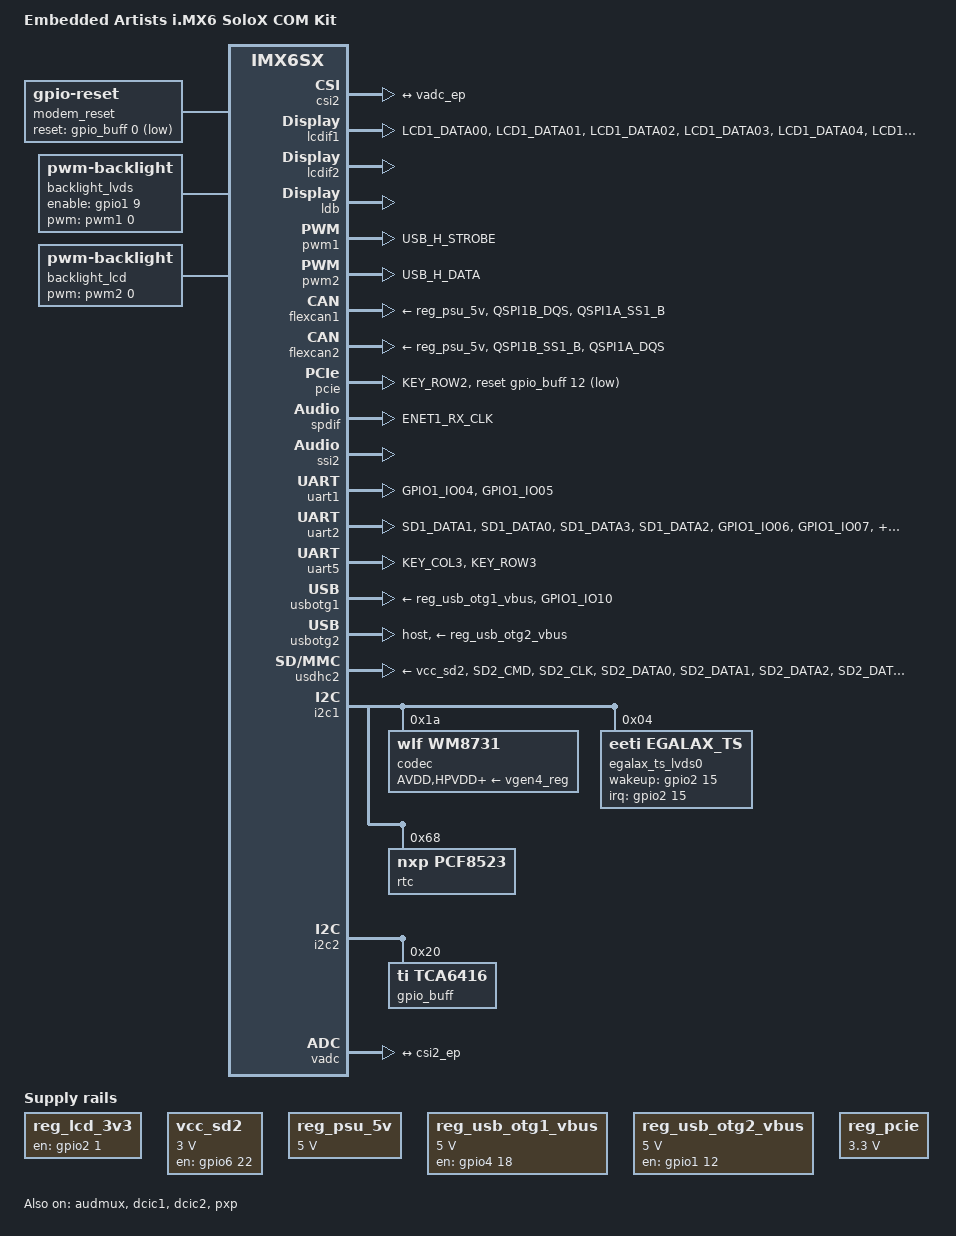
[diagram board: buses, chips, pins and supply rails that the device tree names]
/*
 * Copyright (C) 2014-2015 Freescale Semiconductor, Inc.
 *
 * This program is free software; you can redistribute it and/or modify
 * it under the terms of the GNU General Public License version 2 as
 * published by the Free Software Foundation.
 */

/dts-v1/;

#include "imx6sxea-com.dtsi"

/ {
	model = "Embedded Artists i.MX6 SoloX COM Kit";
	compatible = "fsl,imx6sxea-com", "fsl,imx6sx";

	/* Aliases to allow u-boot to modify the device tree */
	aliases {
		fb_rgb = &lcdif1;
		fb_lvds0 = &lcdif2;
		t_rgb = &t_lcd;
		t_lvds0 = &t_lvds;
		bl_rgb = &backlight_lcd;
		bl_lvds = &backlight_lvds;
		rgb = &display0;
		lvds0 = &display1;
		ldb = &ldb;
		ts_con_rgb = &i2c1;
		ts_con_lvds0 = &i2c1;
	};

	chosen {
		stdout-path = &uart1;
	};


	modem_reset: modem-reset {		/* Murata -- BT_REG_ON */
		compatible = "gpio-reset";
		reset-gpios = <&gpio_buff 0 GPIO_ACTIVE_LOW>;
		reset-delay-us = <1000>;
		#reset-cells = <0>;
	};

	backlight_lvds: backlight1 {
		compatible = "pwm-backlight";
		pwms = <&pwm1 0 5000000>;
		brightness-levels = <0 4 8 16 32 64 128 255>;
		default-brightness-level = <6>;
		fb-names = "mxs-lcdif0";
		enable-gpios = <&gpio1 9 GPIO_ACTIVE_HIGH>;
	};

	backlight_lcd: backlight2 {
		compatible = "pwm-backlight";
		pwms = <&pwm2 0 5000000>;
		brightness-levels = <0 4 8 16 32 64 128 255>;
		default-brightness-level = <6>;
		fb-names = "mxs-lcdif1";
	};

/*
	hannstar_cabc {
		compatible = "hannstar,cabc";

		lvds0 {
			gpios = <&gpio2 1 GPIO_ACTIVE_HIGH>, <&gpio1 9 GPIO_ACTIVE_HIGH>;
		};
	};
*/
	pxp_v4l2_out {
		compatible = "fsl,imx6sx-pxp-v4l2", "fsl,imx6sl-pxp-v4l2";
		status = "okay";
	};

	regulators {
		compatible = "simple-bus";
		#address-cells = <1>;
		#size-cells = <0>;

		reg_lcd_3v3: lcd-3v3 {
			compatible = "regulator-fixed";
			regulator-name = "lcd-3v3";
			gpio = <&gpio2 1 GPIO_ACTIVE_LOW>;
			enable-active-high;
			status = "okay";
		};

		/* For uSD/MMC socket on EA COM Base Board */
		vcc_sd2: regulator@0 {
			compatible = "regulator-fixed";
			reg = <0>;
			pinctrl-names = "default";
			pinctrl-0 = <&pinctrl_vcc_sd2>;
			regulator-name = "VCC_SD2";
			regulator-min-microvolt = <3000000>;
			regulator-max-microvolt = <3000000>;
			gpio = <&gpio6 22 GPIO_ACTIVE_HIGH>;
			enable-active-high;
		};

		reg_psu_5v: regulator@1 {
			compatible = "regulator-fixed";
			reg = <1>;
			regulator-name = "PSU-5V0";
			regulator-min-microvolt = <5000000>;
			regulator-max-microvolt = <5000000>;
			regulator-boot-on;
		};


		reg_usb_otg1_vbus: regulator@3 {
			compatible = "regulator-fixed";
			reg = <3>;
			pinctrl-names = "default";
			pinctrl-0 = <&pinctrl_usb_otg1>;
			regulator-name = "usb_otg1_vbus";
			regulator-min-microvolt = <5000000>;
			regulator-max-microvolt = <5000000>;
			gpio = <&gpio4 18 GPIO_ACTIVE_HIGH>;
			enable-active-high;
		};
 
		reg_usb_otg2_vbus: regulator@4 {
			compatible = "regulator-fixed";
			reg = <4>;
			pinctrl-names = "default";
			pinctrl-0 = <&pinctrl_usb_otg2>;
			regulator-name = "usb_otg2_vbus";
			regulator-min-microvolt = <5000000>;
			regulator-max-microvolt = <5000000>;
			gpio = <&gpio1 12 GPIO_ACTIVE_HIGH>;
			enable-active-high;
		};

		reg_pcie: regulator@5 {
			compatible = "regulator-fixed";
			reg = <5>;
			regulator-name = "MPCIE_3V3";
			regulator-min-microvolt = <3300000>;
			regulator-max-microvolt = <3300000>;			
			regulator-always-on;
		};
	};

	sound {
		compatible = "fsl,imx-audio-wm8731";
		model = "wm8731-audio";
		ssi-controller = <&ssi2>;
		src-port = <2>;
		ext-port = <6>;
		audio-codec = <&codec>;
		audio-routing = "LOUT", "ROUT", "LLINEIN", "RLINEIN";
	};

};

&audmux {
	pinctrl-names = "default";
	pinctrl-0 = <&pinctrl_audmux>;
	status = "okay";
};

&csi2 {
	status = "okay";
	port {
		csi2_ep: endpoint {
			remote-endpoint = <&vadc_ep>;
		};
	};
};


&lcdif1 {
	pinctrl-names = "default";
	pinctrl-0 = <&pinctrl_lcdif_dat>;
	lcd-supply = <&reg_lcd_3v3>;
	display = <&display0>;
	status = "okay";

	display0: display@0 {
		bits-per-pixel = <32>;
		bus-width = <24>;

		display-timings {
			native-mode = <&t_lcd>;
			t_lcd: t_lcd_default {
				/* values may be changed in bootscript, default is for EA 7" display */
				clock-frequency = <33500000>;
				hactive = <800>;
				vactive = <480>;
				hback-porch = <89>;
				hfront-porch = <164>;
				vback-porch = <75>;/*<23>;*/
				vfront-porch = <75>;/*<10>;*/
				hsync-len = <10>;
				vsync-len = <10>;
				hsync-active = <0>;
				vsync-active = <0>;
				de-active = <1>;
				pixelclk-active = <1>;
			};
		};
	};
};

&lcdif2 {
        lcd-supply = <&reg_lcd_3v3>;

	display = <&display1>;
	disp-dev = "ldb";
	status = "okay";

	assigned-clocks = <&clks IMX6SX_CLK_LCDIF2_SEL>;
	assigned-clock-parents = <&clks IMX6SX_CLK_LDB_DI0>;
	assigned-clock-rates = <0>;

	display1: display@1 {
		bits-per-pixel = <16>;
		bus-width = <18>;
	};
};

&ldb {
	status = "okay";

	lvds-channel@0 {
		fsl,data-mapping = "spwg";
		fsl,data-width = <18>;
		crtc = "lcdif2";
		status = "okay";

		display-timings {
			native-mode = <&t_lvds>;
			t_lvds: t_lvds_default {
				/* values may be changed in bootscript, default is for Hannstar 10" display */
				clock-frequency = <65000000>;
				hactive = <1024>;
				vactive = <768>;
				hback-porch = <220>;
				hfront-porch = <40>;
				vback-porch = <21>;
				vfront-porch = <7>;
				hsync-len = <60>;
				vsync-len = <10>;
			};
		};
	};
};

&pwm1 {
	pinctrl-names = "default";
	pinctrl-0 = <&pinctrl_pwm1>;
	status = "okay";
};

&pwm2 {
	pinctrl-names = "default";
	pinctrl-0 = <&pinctrl_pwm2>;
	status = "okay";
};

&dcic1 {
	dcic_id = <0>;
	dcic_mux = "dcic-lcdif1";
	status = "okay";
};

&dcic2 {
	dcic_id = <1>;
	dcic_mux = "dcic-lvds";
	status = "okay";
};

&flexcan1 {
	pinctrl-names = "default";
	pinctrl-0 = <&pinctrl_flexcan1>;
	xceiver-supply = <&reg_psu_5v>;
	status = "okay";
};

&flexcan2 {
	pinctrl-names = "default";
	pinctrl-0 = <&pinctrl_flexcan2>;
	xceiver-supply = <&reg_psu_5v>;
	status = "okay";
};

&pcie {
	pinctrl-names = "default";
	pinctrl-0 = <&pinctrl_pcie>;
	reset-gpio = <&gpio_buff 12 GPIO_ACTIVE_LOW>; /* PCIE_PERST_L */
	disable-gpio = <&gpio_buff 1 GPIO_ACTIVE_LOW>; /* WL REG ON */
	clkreq-gpio = <&gpio2 17 GPIO_ACTIVE_LOW>; /* PCIe_CLKREQ */
	status = "okay";
};

&pxp {
	status = "okay";
};

&sai1 {
        pinctrl-names = "default";
        pinctrl-0 = <&pinctrl_sai1>;
        status = "disabled";
};

&spdif {
	pinctrl-names = "default";
	pinctrl-0 = <&pinctrl_spdif>;
	status = "okay";
};

&ssi2 {
	fsl,mode = "i2s-master";
	status = "okay";
};

&uart1 {
	pinctrl-names = "default";
	pinctrl-0 = <&pinctrl_uart1>;
	status = "okay";
};

&uart2 {
	pinctrl-names = "default";
	pinctrl-0 = <&pinctrl_uart2>;
	status = "okay";

	fsl,uart-has-rtscts;
	#fsl,irda-mode;
	#fsl,dte-mode;
};

&uart5 {
	pinctrl-names = "default";
	pinctrl-0 = <&pinctrl_uart5>;
	status = "okay";
};

&usbotg1 {
	vbus-supply = <&reg_usb_otg1_vbus>;
	pinctrl-names = "default";
	pinctrl-0 = <&pinctrl_usb_otg1_id>;
	status = "okay";
};

&usbotg2 {
	vbus-supply = <&reg_usb_otg2_vbus>;
	dr_mode = "host";
	status = "okay";
};

/* For uSD/MMC socket on EA COM Base Board */
&usdhc2 {
	pinctrl-names = "default";
	pinctrl-0 = <&pinctrl_usdhc2>;
	cd-gpios = <&gpio2 16 GPIO_ACTIVE_LOW>;
	vmmc-supply = <&vcc_sd2>;
	no-1-8-v;
	keep-power-in-suspend;
	wakeup-source;
	status = "okay";
};


&i2c1 {
	
	codec: wm8731@1a {
		compatible = "wlf,wm8731";
		reg = <0x1a>;
		clocks = <&clks IMX6SX_CLK_AUDIO>, <&clks IMX6SX_CLK_PLL4_AUDIO_DIV>;
		clock-names = "mclk", "mclk_parent";
		AVDD-supply = <&vgen4_reg>;
		HPVDD-supply = <&vgen4_reg>;
		DCVDD-supply = <&vgen4_reg>;
		DBVDD-supply = <&vgen4_reg>;
	};

	/* AR1021 touch controller through RGB display interface connector on Carrier Board */
	ar1021_rgb@4d {
		compatible = "microchip,ar1021-i2c";
		reg = <0x4d>;
		pinctrl-names = "default";
		pinctrl-0 = <&pinctrl_rgb_connector>;
		interrupt-parent = <&gpio1>;
		interrupts = <17 IRQ_TYPE_EDGE_FALLING>;
		ar1021,swap_xy;
		ar1021,invert_x;
		#ar1021,invert_y;
		status = "disabled";
	};
	/* AR1021 touch controller through LVDS0 display interface connector on Carrier Board */
	ar1021_lvds0@4d {
		compatible = "microchip,ar1021-i2c";
		reg = <0x4d>;
		pinctrl-names = "default";
		pinctrl-0 = <&pinctrl_lvds0_connector>;
		interrupt-parent = <&gpio2>;
		interrupts = <15 IRQ_TYPE_EDGE_FALLING>;
		ar1021,swap_xy;
		ar1021,invert_x;
		#ar1021,invert_y;
		status = "disabled";
	};

	/* eGalax touch controller through RGB display interface connector on Carrier Board */
	egalax_ts_rgb@04 {
		compatible = "eeti,egalax_ts";
		reg = <0x04>;
		pinctrl-names = "default";
		pinctrl-0 = <&pinctrl_rgb_connector>;
		interrupt-parent = <&gpio1>;
		interrupts = <17 IRQ_TYPE_EDGE_FALLING>;
		wakeup-gpios = <&gpio1 17 GPIO_ACTIVE_HIGH>;
		status = "disabled";
	};
	/* eGalax touch controller through LVDS0 display interface connector on Carrier Board */
	egalax_ts_lvds0@04 {
		compatible = "eeti,egalax_ts";
		reg = <0x04>;
		pinctrl-names = "default";
		pinctrl-0 = <&pinctrl_lvds0_connector>;
		interrupt-parent = <&gpio2>;
		interrupts = <15 IRQ_TYPE_EDGE_FALLING>;
		wakeup-gpios = <&gpio2 15 GPIO_ACTIVE_HIGH>;
		status = "okay";
	};

	/* FocalTech touch controller through RGB display interface connector on Carrier Board */
	edt-ft5x06_rgb@38 {
		compatible = "edt,edt-ft5x06";
		reg = <0x38>;
		pinctrl-names = "default";
		pinctrl-0 = <&pinctrl_rgb_connector>;
		interrupt-parent = <&gpio1>;
		interrupts = <17 IRQ_TYPE_EDGE_FALLING>;
		reset-gpios = <&gpio4 19 GPIO_ACTIVE_HIGH>;
		status = "disabled";
	};
	/* FocalTech touch controller through LVDS0 display interface connector on Carrier Board */
	edt-ft5x06_lvds0@38 {
		compatible = "edt,edt-ft5x06";
		reg = <0x38>;
		pinctrl-names = "default";
		pinctrl-0 = <&pinctrl_lvds0_connector>;
		interrupt-parent = <&gpio2>;
		interrupts = <15 IRQ_TYPE_EDGE_FALLING>;
		status = "disabled";
	};

	/* Ilitek touch controller through RGB display interface connector on Carrier Board */
	ilitek_aim_rgb@41 {
		compatible = "ilitek,ilitek_aim";
		reg = <0x41>;
		pinctrl-names = "default";
		pinctrl-0 = <&pinctrl_rgb_connector>;
		interrupt-parent = <&gpio1>;
		interrupts = <17 IRQ_TYPE_EDGE_FALLING>;
		reset-gpios = <&gpio4 19 GPIO_ACTIVE_HIGH>;
		status = "disabled";
	};
	/* Ilitek touch controller through LVDS0 display interface connector on Carrier Board */
	ilitek_aim_lvds0@41 {
		compatible = "ilitek,ilitek_aim";
		reg = <0x41>;
		pinctrl-names = "default";
		pinctrl-0 = <&pinctrl_lvds0_connector>;
		interrupt-parent = <&gpio2>;
		interrupts = <15 IRQ_TYPE_EDGE_FALLING>;
		status = "disabled";
	};

	/* Atmel MXT1664 touch controller through RGB display interface connector on Carrier Board */
	mxt1664_ts_rgb@4b {
		compatible = "atmel,mxt1664_ts";
		reg = <0x4b>;
		pinctrl-names = "default";
		pinctrl-0 = <&pinctrl_rgb_connector>;
		interrupt-parent = <&gpio1>;
		interrupts = <17 IRQ_TYPE_EDGE_FALLING>;
		status = "disabled";
	};

	/* Atmel MXT1664 touch controller through LVDS0 display interface connector on Carrier Board */
	mxt1664_ts_lvds0@4b {
		compatible = "atmel,mxt1664_ts";
		reg = <0x4b>;
		pinctrl-names = "default";
		pinctrl-0 = <&pinctrl_lvds0_connector>;
		interrupt-parent = <&gpio2>;
		interrupts = <15 IRQ_TYPE_EDGE_FALLING>;
		status = "disabled";
	};

	/* Sitronix touch controller through RGB display interface connector on Carrier Board */
	sitronix_rgb@55 {
		compatible = "sitronix,sitronix_i2c";
		reg = <0x55>;
		pinctrl-names = "default";
		pinctrl-0 = <&pinctrl_rgb_connector>;
		interrupt-parent = <&gpio1>;
		interrupts = <17 IRQ_TYPE_EDGE_FALLING>;
		reset-gpios = <&gpio4 19 GPIO_ACTIVE_HIGH>;
		status = "disabled";
	};
	/* Sitronix touch controller through LVDS0 display interface connector on Carrier Board */
	sitronix_lvds0@55 {
		compatible = "sitronix,sitronix_i2c";
		reg = <0x55>;
		pinctrl-names = "default";
		pinctrl-0 = <&pinctrl_lvds0_connector>;
		interrupt-parent = <&gpio2>;
		interrupts = <15 IRQ_TYPE_EDGE_FALLING>;
		status = "disabled";
	};
	rtc: pcf8523@68 {
		compatible = "nxp,pcf8523";
		reg = <0x68>;
	};
};

&i2c2 {
	gpio_buff: pca6416@20 {
		compatible = "ti,tca6416";
		reg = <0x20>;
		gpio-controller;
		#gpio-cells = <2>;
		gpio-line-names = "BT_REG_ON", "WL_REG_ON", "",
			"BT_DEV_WAKE", "AUD_MUX_CTRL", "SD_PCIE_MUX_CTRL",
			"VDDIO_VSEL", "PCIE_CLK_MUX_CTRL", "PCIE_SLOT_MUX_CTRL",
			"SD_MUX_CTRL1", "AUD_CODEC_MUX_CTRL1",
			"AUD_CODEC_MUX_CTRL2", "PCIE_PERST_L", "SD_MUX_CTRL2",
			"VBAT_VSEL", "M2-E_WLAN_ENABLE";

		hog_SD_PCIE_MUX_CTRL {
			gpio-hog;
			gpios = <5 0>;
			output-low;
		};
		hog_VDDIO_VSEL {
			gpio-hog;
			gpios = <6 0>;
			output-low;
		};
		hog_PCIE_CLK_MUX_CTRL {
			gpio-hog;
			gpios = <7 0>;
			output-low;
		};
		hog_PCIE_SLOT_MUX_CTRL {
			gpio-hog;
			gpios = <8 0>;
			output-high;
		};
		hog_AUD_CODEC_MUX_CTRL1 {
			gpio-hog;
			gpios = <10 0>;
			output-high;
		};
		hog_AUD_CODEC_MUX_CTRL2 {
			gpio-hog;
			gpios = <11 0>;
			output-high;
		};
	};
};

&vadc {
	vadc_in = <0>;
	csi_id = <1>;
	status = "okay";
	port {
		vadc_ep: endpoint {
			remote-endpoint = <&csi2_ep>;
		};
	};
};

&iomuxc {
	pinctrl-0 = <&pinctrl_lcdif_ctrl>;

	imx6xea-com-kit {

		pinctrl_audmux: audmuxgrp {
			fsl,pins = <
				MX6SX_PAD_CSI_DATA00__AUDMUX_AUD6_TXC   0x130b0
				MX6SX_PAD_CSI_DATA01__AUDMUX_AUD6_TXFS  0x130b0
				MX6SX_PAD_CSI_HSYNC__AUDMUX_AUD6_TXD    0x120b0
				MX6SX_PAD_CSI_VSYNC__AUDMUX_AUD6_RXD    0x130b0
				MX6SX_PAD_CSI_PIXCLK__AUDMUX_MCLK       0x130b0
			>;
		};

		pinctrl_canfd1: canfd1grp-1 {
			fsl,pins = <
				MX6SX_PAD_QSPI1B_DQS__CANFD_TX1         0x1b0b0
				MX6SX_PAD_QSPI1A_SS1_B__CANFD_RX1       0x1b0b0
			>;
		};

		pinctrl_canfd2: canfd2grp-1 {
			fsl,pins = <
				MX6SX_PAD_QSPI1B_SS1_B__CANFD_RX2       0x1b0b0
				MX6SX_PAD_QSPI1A_DQS__CANFD_TX2         0x1b0b0
			>;
		};

		pinctrl_rgb_connector: rgb_connector_grp {
			fsl,pins = <
				MX6SX_PAD_CSI_DATA03__GPIO1_IO_17       0x1f0b0
				MX6SX_PAD_QSPI1A_DATA3__GPIO4_IO_19     0x1f0b0
			>;
		};

		pinctrl_lvds0_connector: lvds0_connector_grp {
			fsl,pins = <
				MX6SX_PAD_KEY_ROW0__GPIO2_IO_15 0x80000000
			>;
		};

		pinctrl_flexcan1: flexcan1grp {
			fsl,pins = <
				MX6SX_PAD_QSPI1B_DQS__CAN1_TX		0x1b020
				MX6SX_PAD_QSPI1A_SS1_B__CAN1_RX		0x1b020
			>;
		};

		pinctrl_flexcan2: flexcan2grp {
			fsl,pins = <
				MX6SX_PAD_QSPI1B_SS1_B__CAN2_RX		0x1b020
				MX6SX_PAD_QSPI1A_DQS__CAN2_TX		0x1b020
			>;
		};

		pinctrl_lcdif_dat: lcdifdatgrp {
			fsl,pins = <
				MX6SX_PAD_LCD1_DATA00__LCDIF1_DATA_0 0x4001b0b0
				MX6SX_PAD_LCD1_DATA01__LCDIF1_DATA_1 0x4001b0b0
				MX6SX_PAD_LCD1_DATA02__LCDIF1_DATA_2 0x4001b0b0
				MX6SX_PAD_LCD1_DATA03__LCDIF1_DATA_3 0x4001b0b0
				MX6SX_PAD_LCD1_DATA04__LCDIF1_DATA_4 0x4001b0b0
				MX6SX_PAD_LCD1_DATA05__LCDIF1_DATA_5 0x4001b0b0
				MX6SX_PAD_LCD1_DATA06__LCDIF1_DATA_6 0x4001b0b0
				MX6SX_PAD_LCD1_DATA07__LCDIF1_DATA_7 0x4001b0b0
				MX6SX_PAD_LCD1_DATA08__LCDIF1_DATA_8 0x4001b0b0
				MX6SX_PAD_LCD1_DATA09__LCDIF1_DATA_9 0x4001b0b0
				MX6SX_PAD_LCD1_DATA10__LCDIF1_DATA_10 0x4001b0b0
				MX6SX_PAD_LCD1_DATA11__LCDIF1_DATA_11 0x4001b0b0
				MX6SX_PAD_LCD1_DATA12__LCDIF1_DATA_12 0x4001b0b0
				MX6SX_PAD_LCD1_DATA13__LCDIF1_DATA_13 0x4001b0b0
				MX6SX_PAD_LCD1_DATA14__LCDIF1_DATA_14 0x4001b0b0
				MX6SX_PAD_LCD1_DATA15__LCDIF1_DATA_15 0x4001b0b0
				MX6SX_PAD_LCD1_DATA16__LCDIF1_DATA_16 0x4001b0b0
				MX6SX_PAD_LCD1_DATA17__LCDIF1_DATA_17 0x4001b0b0
				MX6SX_PAD_LCD1_DATA18__LCDIF1_DATA_18 0x4001b0b0
				MX6SX_PAD_LCD1_DATA19__LCDIF1_DATA_19 0x4001b0b0
				MX6SX_PAD_LCD1_DATA20__LCDIF1_DATA_20 0x4001b0b0
				MX6SX_PAD_LCD1_DATA21__LCDIF1_DATA_21 0x4001b0b0
				MX6SX_PAD_LCD1_DATA22__LCDIF1_DATA_22 0x4001b0b0
				MX6SX_PAD_LCD1_DATA23__LCDIF1_DATA_23 0x4001b0b0
			>;
		};

		pinctrl_lcdif_ctrl: lcdifctrlgrp {
			fsl,pins = <
				MX6SX_PAD_LCD1_CLK__LCDIF1_CLK	0x4001b0b0
				MX6SX_PAD_LCD1_ENABLE__LCDIF1_ENABLE 0x4001b0b0
				MX6SX_PAD_LCD1_VSYNC__LCDIF1_VSYNC 0x4001b0b0
				MX6SX_PAD_LCD1_HSYNC__LCDIF1_HSYNC 0x4001b0b0
				MX6SX_PAD_LCD1_RESET__GPIO3_IO_27 0x4001b0b0
				MX6SX_PAD_GPIO1_IO09__GPIO1_IO_9 0x4001b0b0
				MX6SX_PAD_ENET1_CRS__GPIO2_IO_1 0x110b0
			>;
		};

		pinctrl_pwm1: pwm1grp {
			fsl,pins = <
				MX6SX_PAD_USB_H_STROBE__PWM1_OUT 0x110b0
			>;
		};

		pinctrl_pwm2: pwm2grp {
			fsl,pins = <
				MX6SX_PAD_USB_H_DATA__PWM2_OUT 0x110b0
			>;
		};


		pinctrl_sai1: sai1grp {
				fsl,pins = <
						MX6SX_PAD_CSI_DATA00__SAI1_TX_BCLK     0x130b0
						MX6SX_PAD_CSI_DATA01__SAI1_TX_SYNC     0x130b0
						MX6SX_PAD_CSI_HSYNC__SAI1_TX_DATA_0    0x120b0
						MX6SX_PAD_CSI_VSYNC__SAI1_RX_DATA_0    0x130b0
						MX6SX_PAD_CSI_PIXCLK__AUDMUX_MCLK      0x130b0
				>;
		};

		pinctrl_spdif: spdifgrp {
			fsl,pins = <
				MX6SX_PAD_ENET1_RX_CLK__SPDIF_OUT          0x1b0b0
			>;
		};

		pinctrl_pcie: pciegrp {
			fsl,pins = <
				MX6SX_PAD_KEY_ROW2__GPIO2_IO_17		0x17059
			>;
		};


		pinctrl_vcc_sd2: vccsd2grp {
			fsl,pins = <
				MX6SX_PAD_SD4_RESET_B__GPIO6_IO_22		0x17059
			>;
		};

		pinctrl_uart1: uart1grp {
			fsl,pins = <
				MX6SX_PAD_GPIO1_IO04__UART1_TX		0x1f0b1
				MX6SX_PAD_GPIO1_IO05__UART1_RX		0x1f0b1
			>;
		};

		pinctrl_uart2: uart2grp {
			fsl,pins = <
				MX6SX_PAD_SD1_DATA1__UART2_TX		0x1f0b1
				MX6SX_PAD_SD1_DATA0__UART2_RX		0x1b0b1
				MX6SX_PAD_SD1_DATA3__UART2_RTS_B	0x1b0b1
				MX6SX_PAD_SD1_DATA2__UART2_CTS_B	0x1b0b1

				/* RF_ON - Not Connected */
				/* RF_CD */
				MX6SX_PAD_GPIO1_IO06__GPIO1_IO_6	0x1b0b1

				/* RF_DTR */
				MX6SX_PAD_GPIO1_IO07__GPIO1_IO_7	0x1b0b1

				/* RF_RST */
				MX6SX_PAD_CSI_DATA02__GPIO1_IO_16	0x1b0b1
			>;
		};

		pinctrl_uart5: uart5grp {
			fsl,pins = <
				MX6SX_PAD_KEY_COL3__UART5_TX		0x1f0b1
				MX6SX_PAD_KEY_ROW3__UART5_RX		0x1f0b1
			>;
		};

		pinctrl_usb_otg1: usbotg1grp {
			fsl,pins = <
				MX6SX_PAD_QSPI1A_DATA2__USB_OTG1_PWR	0x10b0
				MX6SX_PAD_QSPI1A_DATA2__GPIO4_IO_18     0x10b0
			>;
		};

		pinctrl_usb_otg1_id: usbotg1idgrp {
			fsl,pins = <
				MX6SX_PAD_GPIO1_IO10__ANATOP_OTG1_ID	0x17059
			>;
		};

		pinctrl_usb_otg2: usbot2ggrp {
			fsl,pins = <
				MX6SX_PAD_GPIO1_IO12__GPIO1_IO_12	0x10b0
			>;
		};

		pinctrl_usdhc2: usdhc2grp {
			fsl,pins = <
				MX6SX_PAD_SD2_CMD__USDHC2_CMD		0x17059
				MX6SX_PAD_SD2_CLK__USDHC2_CLK		0x10059
				MX6SX_PAD_SD2_DATA0__USDHC2_DATA0	0x17059
				MX6SX_PAD_SD2_DATA1__USDHC2_DATA1	0x17059
				MX6SX_PAD_SD2_DATA2__USDHC2_DATA2	0x17059
				MX6SX_PAD_SD2_DATA3__USDHC2_DATA3	0x17059
				MX6SX_PAD_KEY_ROW1__GPIO2_IO_16		0x17059 /* CD */
			>;
		};
	};
};
